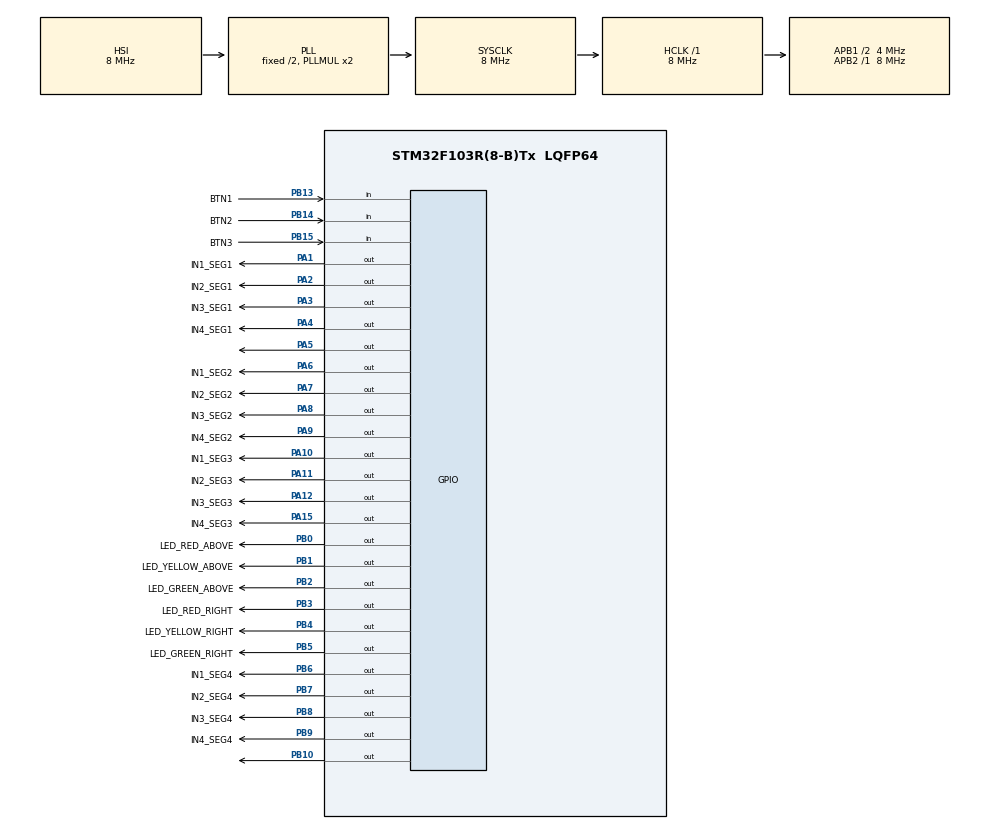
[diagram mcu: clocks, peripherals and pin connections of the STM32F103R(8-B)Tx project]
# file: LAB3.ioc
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Mcu.Family=STM32F1
Mcu.Name=STM32F103R(8-B)Tx
Mcu.Package=LQFP64
NVIC.PriorityGroup=NVIC_PRIORITYGROUP_4
NVIC.TIM2_IRQn=true\:1\:0\:true\:false\:true\:true\:true\:true
PA1.GPIO_Label=IN1_SEG1
PA1.Signal=GPIO_Output
PA10.GPIO_Label=IN1_SEG3
PA10.Signal=GPIO_Output
PA11.GPIO_Label=IN2_SEG3
PA11.Signal=GPIO_Output
PA12.GPIO_Label=IN3_SEG3
PA12.Signal=GPIO_Output
PA13.GPIO_Label=TMS
PA13.Mode=Serial_Wire
PA13.Signal=SYS_JTMS-SWDIO
PA14.GPIO_Label=TCK
PA14.Mode=Serial_Wire
PA14.Signal=SYS_JTCK-SWCLK
PA15.GPIO_Label=IN4_SEG3
PA15.Signal=GPIO_Output
PA2.GPIO_Label=IN2_SEG1
PA2.Signal=GPIO_Output
PA3.GPIO_Label=IN3_SEG1
PA3.Signal=GPIO_Output
PA4.GPIO_Label=IN4_SEG1
PA4.Signal=GPIO_Output
PA5.Signal=GPIO_Output
PA6.GPIO_Label=IN1_SEG2
PA6.Signal=GPIO_Output
PA7.GPIO_Label=IN2_SEG2
PA7.Signal=GPIO_Output
PA8.GPIO_Label=IN3_SEG2
PA8.Signal=GPIO_Output
PA9.GPIO_Label=IN4_SEG2
PA9.Signal=GPIO_Output
PB0.GPIO_Label=LED_RED_ABOVE
PB0.Signal=GPIO_Output
PB1.GPIO_Label=LED_YELLOW_ABOVE
PB1.Signal=GPIO_Output
PB10.Signal=GPIO_Output
PB13.GPIO_Label=BTN1
PB13.GPIO_PuPd=GPIO_PULLUP
PB13.Signal=GPIO_Input
PB14.GPIO_Label=BTN2
PB14.GPIO_PuPd=GPIO_PULLUP
PB14.Signal=GPIO_Input
PB15.GPIO_Label=BTN3
PB15.GPIO_PuPd=GPIO_PULLUP
PB15.Signal=GPIO_Input
PB2.GPIO_Label=LED_GREEN_ABOVE
PB2.Signal=GPIO_Output
PB3.GPIO_Label=LED_RED_RIGHT
PB3.Signal=GPIO_Output
PB4.GPIO_Label=LED_YELLOW_RIGHT
PB4.Signal=GPIO_Output
PB5.GPIO_Label=LED_GREEN_RIGHT
PB5.Signal=GPIO_Output
PB6.GPIO_Label=IN1_SEG4
PB6.Signal=GPIO_Output
PB7.GPIO_Label=IN2_SEG4
PB7.Signal=GPIO_Output
PB8.GPIO_Label=IN3_SEG4
PB8.Signal=GPIO_Output
PB9.GPIO_Label=IN4_SEG4
PB9.Signal=GPIO_Output
PC14-OSC32_IN.Mode=LSE-External-Oscillator
PC14-OSC32_IN.Signal=RCC_OSC32_IN
PC15-OSC32_OUT.Mode=LSE-External-Oscillator
PC15-OSC32_OUT.Signal=RCC_OSC32_OUT
PD0-OSC_IN.Mode=HSE-External-Clock-Source
PD0-OSC_IN.Signal=RCC_OSC_IN
PD1-OSC_OUT.Mode=HSE-External-Clock-Source
PD1-OSC_OUT.Signal=RCC_OSC_OUT
ProjectManager.HeapSize=0x200
ProjectManager.StackSize=0x400
ProjectManager.TargetToolchain=STM32CubeIDE
RCC.AHBFreq_Value=8000000
RCC.APB1CLKDivider=RCC_HCLK_DIV2
RCC.APB1Freq_Value=4000000
RCC.APB1TimFreq_Value=8000000
RCC.APB2Freq_Value=8000000
RCC.APB2TimFreq_Value=8000000
RCC.HCLKFreq_Value=8000000
RCC.RTCClockSelection=RCC_RTCCLKSOURCE_LSE
RCC.SYSCLKFreq_VALUE=8000000
RCC.SYSCLKSource=RCC_SYSCLKSOURCE_PLLCLK
RCC.USBFreq_Value=8000000
TIM2.Period=9
TIM2.Prescaler=7999
VP_TIM2_VS_ClockSourceINT.Mode=Internal
board=NUCLEO-F103RB

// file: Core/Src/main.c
/* USER CODE BEGIN Header */
/**
  ******************************************************************************
  * @file           : main.c
  * @brief          : Main program body
  ******************************************************************************
  * @attention
  *
  * Copyright (c) 2024 STMicroelectronics.
  * All rights reserved.
  *
  * This software is licensed under terms that can be found in the LICENSE file
  * in the root directory of this software component.
  * If no LICENSE file comes with this software, it is provided AS-IS.
  *
  ******************************************************************************
  */
/* USER CODE END Header */
#include "main.h"

/* USER CODE BEGIN Includes */
#include "timer.h"
#include "button.h"
#include "display.h"
#include "input_processing.h"
#include "traffic_jam.h"
#include "scheduler.h"
/* USER CODE END Includes */

TIM_HandleTypeDef htim2;

void SystemClock_Config(void);
static void MX_GPIO_Init(void);
static void MX_TIM2_Init(void);

/* USER CODE BEGIN 0 */
void HAL_TIM_PeriodElapsedCallback(TIM_HandleTypeDef *htim) {
	timerRun();
	getKeyInput();
	SCH_Update();
//	BlinkTraffic();
}
void blinkLed() {
	HAL_GPIO_TogglePin(GPIOA, GPIO_PIN_5);
}
/* USER CODE END 0 */

int main(void)
{

  /* MCU Configuration--------------------------------------------------------*/

  /* Reset of all peripherals, Initializes the Flash interface and the Systick. */
  HAL_Init();

  /* Configure the system clock */
  SystemClock_Config();

  /* Initialize all configured peripherals */
  MX_GPIO_Init();
  MX_TIM2_Init();
  /* USER CODE BEGIN 2 */
	//Init
	HAL_TIM_Base_Start_IT(&htim2);
	InitThreeButton();
	setTimeForTraffic(&time, 13, 3, 10);
	InitCount();
	SCH_Add_Task(blinkLed, 100, 100);
	SCH_Add_Task(fsm_automatic, 100, 100);
  /* USER CODE END 2 */

  /* Infinite loop */
  while (1)
  {

    /* USER CODE BEGIN 3 */

		fsm_setting();
		fsm_manual();
		//fsm_automatic();
		SCH_Dispatch_Task();
  }
  /* USER CODE END 3 */
}

void SystemClock_Config(void)
{
  RCC_OscInitTypeDef RCC_OscInitStruct = {0};
  RCC_ClkInitTypeDef RCC_ClkInitStruct = {0};

  /** Initializes the RCC Oscillators according to the specified parameters
  * in the RCC_OscInitTypeDef structure.
  */
  RCC_OscInitStruct.OscillatorType = RCC_OSCILLATORTYPE_HSI;
  RCC_OscInitStruct.HSIState = RCC_HSI_ON;
  RCC_OscInitStruct.HSICalibrationValue = RCC_HSICALIBRATION_DEFAULT;
  RCC_OscInitStruct.PLL.PLLState = RCC_PLL_ON;
  RCC_OscInitStruct.PLL.PLLSource = RCC_PLLSOURCE_HSI_DIV2;
  RCC_OscInitStruct.PLL.PLLMUL = RCC_PLL_MUL2;
  if (HAL_RCC_OscConfig(&RCC_OscInitStruct) != HAL_OK)
  {
    Error_Handler();
  }

  /** Initializes the CPU, AHB and APB buses clocks
  */
  RCC_ClkInitStruct.ClockType = RCC_CLOCKTYPE_HCLK|RCC_CLOCKTYPE_SYSCLK
                              |RCC_CLOCKTYPE_PCLK1|RCC_CLOCKTYPE_PCLK2;
  RCC_ClkInitStruct.SYSCLKSource = RCC_SYSCLKSOURCE_PLLCLK;
  RCC_ClkInitStruct.AHBCLKDivider = RCC_SYSCLK_DIV1;
  RCC_ClkInitStruct.APB1CLKDivider = RCC_HCLK_DIV2;
  RCC_ClkInitStruct.APB2CLKDivider = RCC_HCLK_DIV1;

  if (HAL_RCC_ClockConfig(&RCC_ClkInitStruct, FLASH_LATENCY_0) != HAL_OK)
  {
    Error_Handler();
  }
}

static void MX_TIM2_Init(void)
{

  TIM_ClockConfigTypeDef sClockSourceConfig = {0};
  TIM_MasterConfigTypeDef sMasterConfig = {0};

  htim2.Instance = TIM2;
  htim2.Init.Prescaler = 7999;
  htim2.Init.CounterMode = TIM_COUNTERMODE_UP;
  htim2.Init.Period = 9;
  htim2.Init.ClockDivision = TIM_CLOCKDIVISION_DIV1;
  htim2.Init.AutoReloadPreload = TIM_AUTORELOAD_PRELOAD_DISABLE;
  if (HAL_TIM_Base_Init(&htim2) != HAL_OK)
  {
    Error_Handler();
  }
  sClockSourceConfig.ClockSource = TIM_CLOCKSOURCE_INTERNAL;
  if (HAL_TIM_ConfigClockSource(&htim2, &sClockSourceConfig) != HAL_OK)
  {
    Error_Handler();
  }
  sMasterConfig.MasterOutputTrigger = TIM_TRGO_RESET;
  sMasterConfig.MasterSlaveMode = TIM_MASTERSLAVEMODE_DISABLE;
  if (HAL_TIMEx_MasterConfigSynchronization(&htim2, &sMasterConfig) != HAL_OK)
  {
    Error_Handler();
  }

}

static void MX_GPIO_Init(void)
{
  GPIO_InitTypeDef GPIO_InitStruct = {0};

  /* GPIO Ports Clock Enable */
  __HAL_RCC_GPIOC_CLK_ENABLE();
  __HAL_RCC_GPIOD_CLK_ENABLE();
  __HAL_RCC_GPIOA_CLK_ENABLE();
  __HAL_RCC_GPIOB_CLK_ENABLE();

  /*Configure GPIO pin Output Level */
  HAL_GPIO_WritePin(GPIOA, IN1_SEG1_Pin|IN2_SEG1_Pin|IN3_SEG1_Pin|IN4_SEG1_Pin
                          |GPIO_PIN_5|IN1_SEG2_Pin|IN2_SEG2_Pin|IN3_SEG2_Pin
                          |IN4_SEG2_Pin|IN1_SEG3_Pin|IN2_SEG3_Pin|IN3_SEG3_Pin
                          |IN4_SEG3_Pin, GPIO_PIN_RESET);

  /*Configure GPIO pin Output Level */
  HAL_GPIO_WritePin(GPIOB, LED_RED_ABOVE_Pin|LED_YELLOW_ABOVE_Pin|LED_GREEN_ABOVE_Pin|GPIO_PIN_10
                          |LED_RED_RIGHT_Pin|LED_YELLOW_RIGHT_Pin|LED_GREEN_RIGHT_Pin|IN1_SEG4_Pin
                          |IN2_SEG4_Pin|IN3_SEG4_Pin|IN4_SEG4_Pin, GPIO_PIN_RESET);

  /*Configure GPIO pins : IN1_SEG1_Pin IN2_SEG1_Pin IN3_SEG1_Pin IN4_SEG1_Pin
                           PA5 IN1_SEG2_Pin IN2_SEG2_Pin IN3_SEG2_Pin
                           IN4_SEG2_Pin IN1_SEG3_Pin IN2_SEG3_Pin IN3_SEG3_Pin
                           IN4_SEG3_Pin */
  GPIO_InitStruct.Pin = IN1_SEG1_Pin|IN2_SEG1_Pin|IN3_SEG1_Pin|IN4_SEG1_Pin
                          |GPIO_PIN_5|IN1_SEG2_Pin|IN2_SEG2_Pin|IN3_SEG2_Pin
                          |IN4_SEG2_Pin|IN1_SEG3_Pin|IN2_SEG3_Pin|IN3_SEG3_Pin
                          |IN4_SEG3_Pin;
  GPIO_InitStruct.Mode = GPIO_MODE_OUTPUT_PP;
  GPIO_InitStruct.Pull = GPIO_NOPULL;
  GPIO_InitStruct.Speed = GPIO_SPEED_FREQ_LOW;
  HAL_GPIO_Init(GPIOA, &GPIO_InitStruct);

  /*Configure GPIO pins : LED_RED_ABOVE_Pin LED_YELLOW_ABOVE_Pin LED_GREEN_ABOVE_Pin PB10
                           LED_RED_RIGHT_Pin LED_YELLOW_RIGHT_Pin LED_GREEN_RIGHT_Pin IN1_SEG4_Pin
                           IN2_SEG4_Pin IN3_SEG4_Pin IN4_SEG4_Pin */
  GPIO_InitStruct.Pin = LED_RED_ABOVE_Pin|LED_YELLOW_ABOVE_Pin|LED_GREEN_ABOVE_Pin|GPIO_PIN_10
                          |LED_RED_RIGHT_Pin|LED_YELLOW_RIGHT_Pin|LED_GREEN_RIGHT_Pin|IN1_SEG4_Pin
                          |IN2_SEG4_Pin|IN3_SEG4_Pin|IN4_SEG4_Pin;
  GPIO_InitStruct.Mode = GPIO_MODE_OUTPUT_PP;
  GPIO_InitStruct.Pull = GPIO_NOPULL;
  GPIO_InitStruct.Speed = GPIO_SPEED_FREQ_LOW;
  HAL_GPIO_Init(GPIOB, &GPIO_InitStruct);

  /*Configure GPIO pins : BTN1_Pin BTN2_Pin BTN3_Pin */
  GPIO_InitStruct.Pin = BTN1_Pin|BTN2_Pin|BTN3_Pin;
  GPIO_InitStruct.Mode = GPIO_MODE_INPUT;
  GPIO_InitStruct.Pull = GPIO_PULLUP;
  HAL_GPIO_Init(GPIOB, &GPIO_InitStruct);

}

void Error_Handler(void)
{
  __disable_irq();
  while (1)
  {
  }
}
